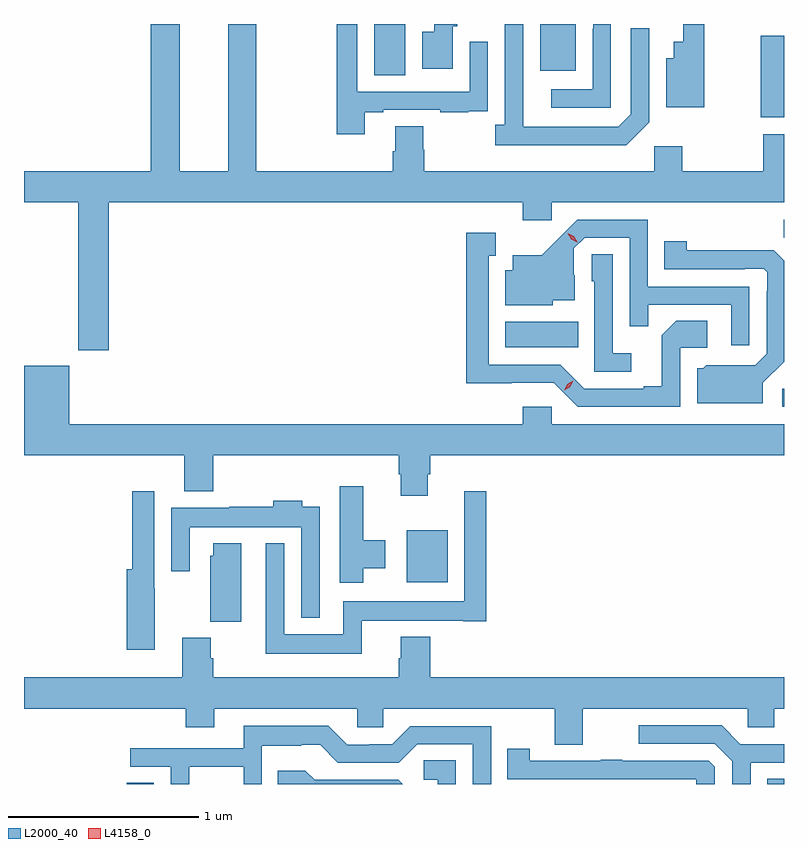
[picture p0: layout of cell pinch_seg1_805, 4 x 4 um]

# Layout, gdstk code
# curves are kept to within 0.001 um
import gdstk
lib = gdstk.Library(unit=1e-6, precision=1e-09)
def R(c, l, rs):  # rectangles x0, y0, x1, y1
    for r in rs: c.add(gdstk.rectangle(r[:2], r[2:], *l))
def P(c, l, *ps):  # polygons
    for p in ps: c.add(gdstk.Polygon(p, *l))
L2000_40 = (2000, 40)
L4158_0 = (4158, 0)

pinch_seg1_805 = lib.new_cell('pinch_seg1_805')
R(pinch_seg1_805, L2000_40, [(460.388,567.319,460.531,567.326), (463.76,567.319,463.847,567.347), (461.861,568.382,462.076,568.654), (463.839,569.304,463.847,569.4), (462.38,569.618,462.764,569.752), (463.846,570.193,463.847,570.288), (463.724,570.827,463.847,571.256), (461.69,571.048,461.854,571.319), (462.563,571.073,462.751,571.319)])
P(pinch_seg1_805, L2000_40, [(463.426,571.319),(463.316,571.319),(463.316,571.225),(463.268,571.225),(463.268,571.138),(463.226,571.138),(463.226,570.881),(463.426,570.881)],
  [(462.103,571.308),(462.127,571.308),(462.127,571.319),(462.005,571.319),(462.005,571.279),(461.942,571.279),(461.942,571.083),(462.103,571.083)],
  [(460.292,570.38),(462.473,570.38),(462.473,570.285),(462.624,570.285),(462.624,570.38),(463.847,570.38),(463.847,570.739),(463.738,570.739),(463.738,570.544),(463.311,570.544),(463.311,570.676),(463.164,570.676),(463.164,570.544),(461.954,570.544),(461.954,570.657),(461.949,570.657),(461.949,570.782),(461.801,570.782),(461.801,570.65),(461.789,570.65),(461.789,570.544),(461.07,570.544),(461.07,571.319),(460.922,571.319),(460.922,570.544),(460.666,570.544),(460.666,571.319),(460.514,571.319),(460.514,570.544),(459.847,570.544),(459.847,570.38),(460.132,570.38),(460.132,569.601),(460.292,569.601)],
  [(461.641,570.855),(461.737,570.855),(461.737,570.867),(462.037,570.867),(462.037,570.855),(462.185,570.855),(462.185,570.861),(462.287,570.861),(462.287,570.97),(462.288,570.97),(462.288,571.225),(462.192,571.225),(462.192,570.963),(461.601,570.963),(461.601,571.319),(461.493,571.319),(461.493,570.738),(461.641,570.738)],
  [(462.936,571.319),(462.843,571.319),(462.843,571.295),(462.84,571.295),(462.84,570.975),(462.621,570.975),(462.621,570.879),(462.936,570.879)],
  [(463.137,570.801),(463.137,571.297),(463.041,571.297),(463.041,570.843),(462.975,570.777),(462.475,570.777),(462.474,571.319),(462.378,571.319),(462.378,570.79),(462.327,570.79),(462.327,570.68),(463.016,570.68)],
  [(463.665,569.937),(463.131,569.937),(463.131,570.288),(462.758,570.288),(462.571,570.103),(462.419,570.103),(462.419,570.022),(462.38,570.022),(462.38,569.84),(462.63,569.84),(462.63,569.864),(462.745,569.864),(462.745,569.996),(462.741,569.996),(462.741,570.138),(462.798,570.195),(463.035,570.195),(463.035,569.728),(463.133,569.728),(463.133,569.841),(463.569,569.841),(463.569,569.628),(463.665,569.628)],
  [(463.302,569.616),(463.444,569.616),(463.444,569.756),(463.279,569.756),(463.203,569.68),(463.203,569.413),(463.109,569.413),(463.109,569.4),(462.795,569.4),(462.669,569.526),(462.292,569.526),(462.292,570.099),(462.331,570.099),(462.331,570.22),(462.174,570.22),(462.174,569.429),(462.636,569.43),(462.762,569.304),(463.302,569.304)],
  [(463.735,569.43),(463.847,569.542),(463.847,570.072),(463.792,570.127),(463.335,570.128),(463.335,570.175),(463.216,570.175),(463.216,570.027),(463.64,570.027),(463.64,570.03),(463.74,570.03),(463.758,570.012),(463.758,569.912),(463.755,569.912),(463.755,569.583),(463.695,569.523),(463.438,569.524),(463.422,569.508),(463.391,569.508),(463.391,569.324),(463.735,569.324)],
  [(463.042,569.587),(462.945,569.587),(462.945,570.107),(462.834,570.107),(462.834,569.964),(462.849,569.964),(462.849,569.49),(463.042,569.49)],
  [(459.847,569.521),(459.847,569.048),(460.691,569.048),(460.691,568.859),(460.844,568.859),(460.844,569.048),(461.819,569.048),(461.819,568.95),(461.831,568.95),(461.831,568.836),(461.971,568.836),(461.971,568.95),(461.984,568.95),(461.984,569.048),(463.847,569.048),(463.847,569.212),(462.624,569.212),(462.624,569.305),(462.473,569.305),(462.473,569.212),(460.084,569.212),(460.084,569.521)],
  [(461.632,568.454),(461.749,568.454),(461.749,568.602),(461.632,568.602),(461.632,568.885),(461.51,568.885),(461.51,568.377),(461.632,568.377)],
  [(461.624,568.178),(462.158,568.178),(462.158,568.176),(462.281,568.176),(462.281,568.861),(462.165,568.861),(462.165,568.282),(461.526,568.282),(461.526,568.108),(461.217,568.108),(461.217,568.585),(461.12,568.585),(461.12,568.004),(461.624,568.004)],
  [(460.534,568.346),(460.533,568.346),(460.533,568.861),(460.417,568.861),(460.417,568.45),(460.388,568.45),(460.388,568.026),(460.534,568.026)],
  [(461.403,568.777),(461.311,568.777),(461.311,568.81),(461.159,568.81),(461.159,568.777),(460.927,568.777),(460.927,568.774),(460.623,568.774),(460.623,568.44),(460.719,568.44),(460.719,568.67),(461.307,568.67),(461.307,568.193),(461.403,568.193)],
  [(460.99,568.585),(460.844,568.585),(460.844,568.521),(460.826,568.521),(460.826,568.174),(460.99,568.174)],
  [(462.787,567.716),(463.656,567.716),(463.656,567.618),(463.795,567.618),(463.795,567.716),(463.847,567.716),(463.847,567.88),(461.984,567.88),(461.984,568.093),(461.831,568.093),(461.831,567.981),(461.819,567.981),(461.819,567.88),(460.844,567.88),(460.844,567.98),(460.831,567.98),(460.831,568.089),(460.679,568.089),(460.679,567.88),(459.847,567.88),(459.847,567.716),(460.697,567.716),(460.697,567.617),(460.849,567.617),(460.849,567.716),(461.601,567.716),(461.601,567.618),(461.739,567.618),(461.739,567.716),(462.64,567.716),(462.64,567.526),(462.787,567.526)],
  [(463.671,567.432),(463.847,567.432),(463.847,567.528),(463.618,567.528),(463.519,567.627),(463.083,567.627),(463.083,567.531),(463.482,567.531),(463.575,567.438),(463.575,567.319),(463.671,567.319)],
  [(460.716,567.41),(461.004,567.41),(461.004,567.319),(461.097,567.319),(461.097,567.521),(461.306,567.521),(461.306,567.525),(461.406,567.525),(461.499,567.432),(461.82,567.432),(461.916,567.528),(462.21,567.528),(462.21,567.319),(462.306,567.319),(462.306,567.624),(461.88,567.624),(461.784,567.528),(461.664,567.528),(461.664,567.525),(461.547,567.525),(461.447,567.625),(461.003,567.625),(461.003,567.507),(460.407,567.507),(460.407,567.411),(460.62,567.411),(460.62,567.319),(460.716,567.319)],
  [(463.482,567.411),(463.452,567.441),(462.995,567.441),(462.995,567.446),(462.883,567.446),(462.883,567.441),(462.51,567.441),(462.51,567.505),(462.391,567.505),(462.391,567.345),(463.386,567.345),(463.386,567.319),(463.482,567.319)],
  [(462.12,567.443),(461.952,567.443),(461.952,567.342),(462.024,567.342),(462.024,567.319),(462.12,567.319)],
  [(461.818,567.342),(461.376,567.342),(461.328,567.389),(461.182,567.389),(461.182,567.319),(461.841,567.319)])
P(pinch_seg1_805, L4158_0, [(462.69,569.391),(462.69,569.391),(462.707,569.423),(462.739,569.442),(462.739,569.442),(462.739,569.442),(462.722,569.409),(462.69,569.391)],
  [(462.758,570.171),(462.727,570.187),(462.71,570.217),(462.71,570.217),(462.71,570.217),(462.741,570.202),(462.759,570.172),(462.759,570.171)])

lib.write_gds('pinch_seg1_805.gds')
